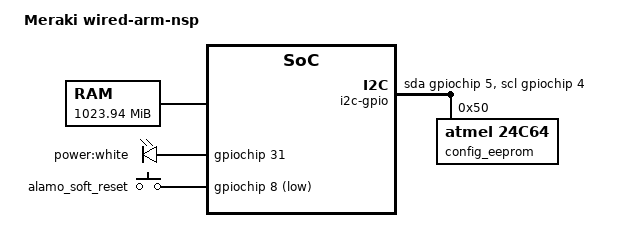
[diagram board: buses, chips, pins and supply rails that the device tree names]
/dts-v1/;

/include/ "wired-arm-nsp.dtsi"

/ {
        model = "Meraki wired-arm-nsp";
        compatible = "meraki,mx6p", "meraki,wired-arm-nsp",
			"broadcom,iproc", "bcm,iproc";
        memory {
                device_type = "memory";
                reg = <0x60000000 0x3fff0000>;
        };

        leds {
                compatible = "gpio-leds";
                white {
                        label = "power:white";
                        gpios = <&gpiochip 31 0>;
                        default-state = "off";
                };
        };

        gpio-cfg {
                compatible = "iproc-gpio-cfg";
                gpios-general = <2 3 4 5 6 8 12 13 14 15 18 19 20 21 22 23 24 25 26 27 28 29 30 31>;
                gpios-aux = <7 33 34 35>;
        };

        gpio-buttons {
                compatible = "gpio-keys-polled";
                autorepeat;
                poll-interval = <20>;
                button@1 {
                        label = "alamo_soft_reset";
                        linux,code = <0x198>;     // EV_RESTART
                        linux,input-type = <1>;   // EV_KEY
                        debounce-interval = <60>;
                        gpios = <&gpiochip 8 1>;
                };
        };

        i2c-gpio {
            #address-cells = <1>;
            #size-cells = <0>;
            compatible = "i2c-gpio";
            gpios = <&gpiochip 5 0 /* sda  */
                 &gpiochip 4 0>; /* scl  */
            i2c-gpio,delay-us = <10>;   /* ~100 kHz  */

            config_eeprom: at24@50 {
                compatible = "atmel,24c64";
                pagesize = <32>;
                reg = <0x50>;
            };

        };
};
